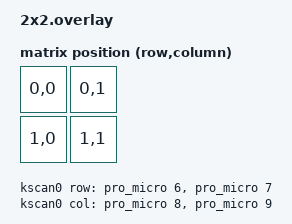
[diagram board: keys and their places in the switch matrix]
#include <physical_layouts.dtsi>
#include <dt-bindings/zmk/matrix_transform.h>

/ {
    chosen {
        zmk,kscan = &kscan0;
        zmk,physical-layout = &physical_layout0;
    };

    kscan0: kscan_0 {
        compatible = "zmk,kscan-gpio-matrix";
        diode-direction = "col2row";
        wakeup-source;
        col-gpios =
            <&pro_micro 8 GPIO_ACTIVE_HIGH>,
            <&pro_micro 9 GPIO_ACTIVE_HIGH>;
        row-gpios =
            <&pro_micro 6 (GPIO_ACTIVE_HIGH | GPIO_PULL_DOWN)>,
            <&pro_micro 7 (GPIO_ACTIVE_HIGH | GPIO_PULL_DOWN)>;
    };

    default_transform: keymap_transform0 {
        compatible = "zmk,matrix-transform";
        columns = <2>;
        rows = <2>;
        map = <
            RC(0,0) RC(0,1)
            RC(1,0) RC(1,1)
        >;
    };

    physical_layout0: physical_layout_0 {
        compatible = "zmk,physical-layout";
        display-name = "Default Layout";
        kscan = <&kscan0>;
        transform = <&default_transform>;
        keys =
            <&key_physical_attrs 100 100    0    0       0     0     0>,
            <&key_physical_attrs 100 100  100    0       0     0     0>,
            <&key_physical_attrs 100 100    0  100       0     0     0>,
            <&key_physical_attrs 100 100  100  100       0     0     0>;
    };
};
